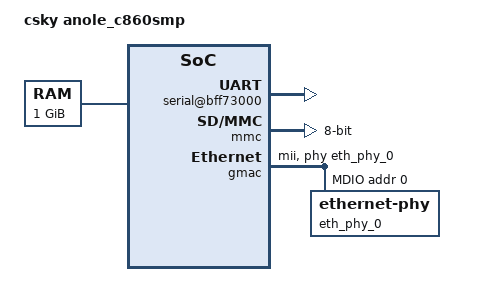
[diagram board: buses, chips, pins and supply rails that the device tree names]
/dts-v1/;
/ {
	model = "csky anole_c860smp";
	compatible = "csky,anole_c860smp";
	#address-cells = <1>;
	#size-cells = <1>;

	memory {
		device_type = "memory";
		reg = <0x00000000 0x40000000>;
	};

	cpus {
		#address-cells = <1>;
		#size-cells = <0>;
		timebase-frequency = <50000000>;
		cpu@0 {
			device_type = "cpu";
			reg = <0>;
			status = "okay";
			compatible = "csky";
			csky,isa = "Unknown";
		};
	};

	soc {
		#address-cells = <1>;
		#size-cells = <1>;
		compatible = "simple-bus";
		ranges;

		intc: interrupt-controller {
			compatible = "csky,mpintc";
			interrupt-controller;
			#interrupt-cells = <1>;
		};

		dummy_clk_ahb: dummy-clk-ahb {
			compatible = "fixed-clock";
			clock-frequency = <250000000>;
			clock-output-names = "dummy_clk_ahb";
			#clock-cells = <0>;
		};

		/* Actually is 100M, before turning, set as 150M to get div=2*2 */
		dummy_clk_sdio: dummy-clk-sdio {
			compatible = "fixed-clock";
			clock-frequency = <100000000>;
			clock-output-names = "dummy_clk_sdio";
			#clock-cells = <0>;
		};

		serial@bff73000 {
			compatible = "snps,dw-apb-uart";
			reg = <0xbff73000 0x400>;
			interrupt-parent = <&intc>;
			interrupts = <39>;
			clock-frequency = <62500000>;
			clock-names = "baudclk";
			reg-shift = <2>;
			reg-io-width = <4>;
		};

		mmc: mmc0@bffb0000 {
			compatible = "snps,dw-mshc";
			reg = <0xbffb0000 0x400>;
			bus-width = <8>;
			clocks = <&dummy_clk_sdio>, <&dummy_clk_sdio>;
			clock-names = "biu", "ciu";
			max-frequency = <25000000>;
		};

		gmac: ethernet@bffc0000 {
			compatible = "snps,arc-dwmac-3.70a";
			reg = <0xbffc0000 0x2000>;
			interrupt-parent = <&intc>;
			interrupts = <56>;
			interrupt-names = "macirq";
			clocks = <&dummy_clk_ahb>;
			clock-names = "stmmaceth";
			snps,pbl = <32>;
			snps,fixed-burst;

			phy-mode = "mii";
			phy-handle = <&eth_phy_0>;
			max-speed = <100>;
			mdio0 {
				#address-cells = <1>;
				#size-cells = <0>;
				compatible = "snps,dwmac-mdio";

				eth_phy_0: ethernet-phy@0 {
					reg = <0>;
				};
			};
		};
	};

	chosen {
		bootargs = "console=ttyS0,115200";
		stdout-path = "/soc/serial@bff73000:115200";
	};
};
